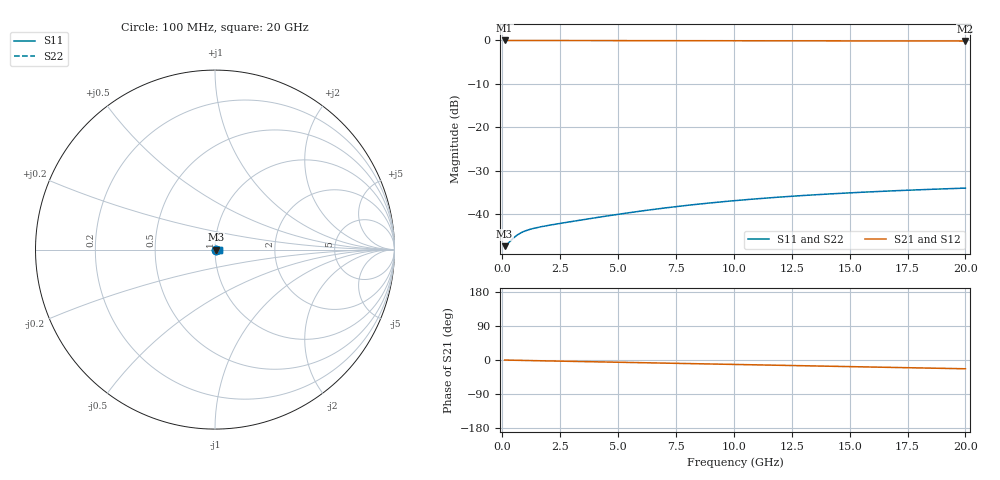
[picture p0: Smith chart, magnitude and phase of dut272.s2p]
! Touchstone file exported from HFSS 2026.1.0
!  File:  C:/ffzhzh/LocalFiles/Ansys_Project_Files/temp_train_BSMRDL_272_1782988960_6248.aedt
!  Generated:  06:43:44 PM Jul  2, 2026
!  Design:  BSMRDL
!  Project:  temp_train_BSMRDL_272_1782988960_6248
! Variables:
!  h_bsmrdl = 3.12um
!  h_ox = 20um
!  h_rdl = 5um
!  h_sub = 80um
!  h_tmrdl = 5um
!  h_tsv = 80um
!  h_via = 3um
!  l_bsmrdl = 418.12um
!  l_sub = 818.12um
!  l_tmrdl = 200um
!  m_sub = 200um
!  pitch = 14.21um
!  r_tsv = 6um
!  s_tmrdl = 10um
!  w_bsmrdl = 11.4um
!  w_sub = 500um
!  w_tmrdl = 12um
!  x_tsv_center1 = 206um
!  x_tsv_center2 = 635.52um
!  x_tsv_center3 = 847.52um
!  x_tsv_center4 = 1277.04um
!  x_tsv_center5 = 1489.04um
!  x_tsv_center6 = 1918.56um
# GHz S MA R 50.000000
! Terminal data exported
! Port[1] = BSM_RDL1_1_T1
! Port[2] = BSM_RDL1_1_T2
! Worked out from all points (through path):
!   200 points, 100 MHz to 20 GHz, reference 50 ohm
!   highest |S21| = -0.04 dB at 100 MHz (marker M1); lowest = -0.2 dB at 20 GHz (marker M2)
!   group delay of S21, straight-line fit = 3.2 ps
!   lowest |S11| = -47.3 dB at 100 MHz (marker M3), VSWR 1.01, Z = 50.4 + j0.0461 ohm
!   |S11| at or under -10 dB: start of sweep to end of sweep
!   |S22| runs from -47.3 to -33.9 dB; largest |S21 - S12| = 2e-15
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0.1  0.004315 6.1  0.9957 -0.1  0.9957 -0.1  0.004315 6.1
! Gamma 0 0 0 0
! Port Impedance 50 0 50 0
0.2  0.00452 11.2  0.9956 -0.3  0.9956 -0.3  0.00452 11.2
0.4  0.005111 17.2  0.9951 -0.5  0.9951 -0.5  0.005111 17.2
0.5  0.00541 18.5  0.9949 -0.7  0.9949 -0.7  0.00541 18.5
0.6  0.005683 19.3  0.9947 -0.8  0.9947 -0.8  0.005683 19.3
0.7  0.005924 19.6  0.9944 -0.9  0.9944 -0.9  0.005924 19.6
0.8  0.006133 19.8  0.9943 -1.0  0.9943 -1.0  0.006133 19.8
0.9  0.006315 19.9  0.9941 -1.2  0.9941 -1.2  0.006315 19.9
1.1  0.006614 19.9  0.9938 -1.4  0.9938 -1.4  0.006614 19.9
1.4  0.006958 20.1  0.9935 -1.7  0.9935 -1.7  0.006958 20.1
1.8  0.007321 20.7  0.9932 -2.2  0.9932 -2.2  0.007321 20.7
2.4  0.007804 22.0  0.9929 -2.9  0.9929 -2.9  0.007805 22.0
3.5  0.008702 24.2  0.9923 -4.2  0.9923 -4.2  0.008703 24.2
5.3  0.0103 25.6  0.9912 -6.3  0.9912 -6.3  0.0103 25.6
6.8  0.01166 25.0  0.9902 -8.1  0.9902 -8.1  0.01167 25.0
8.4  0.01306 23.0  0.989 -9.9  0.989 -9.9  0.01307 23.0
10.1  0.01444 20.1  0.9876 -11.9  0.9876 -11.9  0.01445 20.0
11.7  0.01562 16.9  0.9864 -13.7  0.9864 -13.7  0.01564 16.8
13.4  0.01674 13.2  0.9851 -15.7  0.9851 -15.7  0.01676 13.2
15  0.01768 9.7  0.984 -17.5  0.984 -17.5  0.01771 9.6
16.7  0.01857 5.9  0.9828 -19.4  0.9828 -19.4  0.01861 5.8
20  0.02004 -1.3  0.9808 -23.1  0.9808 -23.1  0.0201 -1.4
